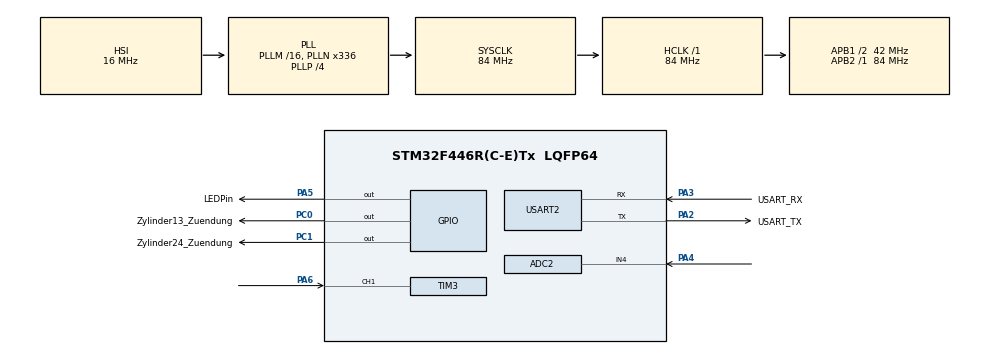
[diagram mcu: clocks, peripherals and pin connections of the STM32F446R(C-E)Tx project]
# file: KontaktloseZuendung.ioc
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ADC2.Channel-6\#ChannelRegularConversion=ADC_CHANNEL_4
ADC2.ContinuousConvMode=ENABLE
ADC2.NbrOfConversionFlag=1
ADC2.Rank-6\#ChannelRegularConversion=1
ADC2.Resolution=ADC_RESOLUTION_10B
ADC2.SamplingTime-6\#ChannelRegularConversion=ADC_SAMPLETIME_3CYCLES
Mcu.Family=STM32F4
Mcu.Name=STM32F446R(C-E)Tx
Mcu.Package=LQFP64
NVIC.ADC_IRQn=true\:0\:1\:false\:false\:true\:true\:true
NVIC.PriorityGroup=NVIC_PRIORITYGROUP_2
NVIC.TIM3_IRQn=true\:1\:1\:true\:false\:true\:true\:true
NVIC.TIM4_IRQn=true\:0\:0\:true\:false\:true\:true\:true
PA13.GPIO_Label=TMS
PA13.Mode=Serial_Wire
PA13.Signal=SYS_JTMS-SWDIO
PA14.GPIO_Label=TCK
PA14.Mode=Serial_Wire
PA14.Signal=SYS_JTCK-SWCLK
PA2.GPIO_Label=USART_TX
PA2.Mode=Asynchronous
PA2.Signal=USART2_TX
PA3.GPIO_Label=USART_RX
PA3.Mode=Asynchronous
PA3.Signal=USART2_RX
PA4.Signal=ADCx_IN4
PA5.GPIO_Label=LEDPin
PA5.Signal=GPIO_Output
PA6.GPIO_ModeDefaultPP=GPIO_MODE_AF_PP
PA6.GPIO_PuPd=GPIO_PULLDOWN
PA6.GPIO_Speed=GPIO_SPEED_FREQ_VERY_HIGH
PA6.Signal=S_TIM3_CH1
PB3.GPIO_Label=SWO
PB3.Signal=SYS_JTDO-SWO
PC0.GPIO_Label=Zylinder13_Zuendung
PC0.GPIO_PuPd=GPIO_PULLDOWN
PC0.GPIO_Speed=GPIO_SPEED_FREQ_VERY_HIGH
PC0.PinState=GPIO_PIN_RESET
PC0.Signal=GPIO_Output
PC1.GPIO_Label=Zylinder24_Zuendung
PC1.GPIO_PuPd=GPIO_PULLDOWN
PC1.GPIO_Speed=GPIO_SPEED_FREQ_VERY_HIGH
PC1.Signal=GPIO_Output
PC14-OSC32_IN.Mode=LSE-External-Oscillator
PC14-OSC32_IN.Signal=RCC_OSC32_IN
PC15-OSC32_OUT.Mode=LSE-External-Oscillator
PC15-OSC32_OUT.Signal=RCC_OSC32_OUT
PH0-OSC_IN.Mode=HSE-External-Oscillator
PH0-OSC_IN.Signal=RCC_OSC_IN
PH1-OSC_OUT.Mode=HSE-External-Oscillator
PH1-OSC_OUT.Signal=RCC_OSC_OUT
ProjectManager.HeapSize=0x200
ProjectManager.StackSize=0x400
ProjectManager.TargetToolchain=STM32CubeIDE
RCC.48MHZClocksFreq_Value=84000000
RCC.AHBFreq_Value=84000000
RCC.APB1CLKDivider=RCC_HCLK_DIV2
RCC.APB1Freq_Value=42000000
RCC.APB1TimFreq_Value=84000000
RCC.APB2Freq_Value=84000000
RCC.APB2TimFreq_Value=84000000
RCC.CortexFreq_Value=84000000
RCC.FLatency-AdvancedSettings=FLASH_LATENCY_2
RCC.HCLKFreq_Value=84000000
RCC.HSE_VALUE=8000000
RCC.HSI_VALUE=16000000
RCC.PLLN=336
RCC.PLLP=RCC_PLLP_DIV4
RCC.SYSCLKFreq_VALUE=84000000
RCC.SYSCLKSource=RCC_SYSCLKSOURCE_PLLCLK
RCC.USBFreq_Value=168000000
RCC.VCOOutputFreq_Value=336000000
SH.ADCx_IN4.0=ADC2_IN4,IN4
SH.S_TIM3_CH1.0=TIM3_CH1,Input_Capture1_from_TI1
SH.S_TIM3_CH1.1=TIM3_CH1,Input_Capture2_from_TI1
TIM3.AutoReloadPreload=TIM_AUTORELOAD_PRELOAD_ENABLE
TIM3.Channel-Input_Capture1_from_TI1=TIM_CHANNEL_1
TIM3.Channel-Input_Capture2_from_TI1=TIM_CHANNEL_2
TIM3.ICFilter_CH1=0
TIM3.ICPolarity_CH2=TIM_INPUTCHANNELPOLARITY_FALLING
TIM3.Period=65535
TIM3.Prescaler=221
TIM3.TIM_MasterOutputTrigger=TIM_TRGO_RESET
TIM4.AutoReloadPreload=TIM_AUTORELOAD_PRELOAD_ENABLE
TIM4.Channel-Output\ Compare1\ No\ Output=TIM_CHANNEL_1
TIM4.CounterMode=TIM_COUNTERMODE_UP
TIM4.Period=28500
TIM4.Prescaler=221
TIM4.Pulse-Output\ Compare1\ No\ Output=0
USART2.VirtualMode=VM_ASYNC
VP_TIM3_VS_ClockSourceINT.Mode=Internal
VP_TIM4_VS_ClockSourceINT.Mode=Internal
VP_TIM4_VS_no_output1.Mode=Output Compare1 No Output
board=NUCLEO-F446RE

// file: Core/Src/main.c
/* USER CODE BEGIN Header */
/**
 ******************************************************************************
 * @file           : main.c
 * @brief          : Main program body
 ******************************************************************************
 * @attention
 *
 * <h2><center>&copy; Copyright (c) 2019 STMicroelectronics.
 * All rights reserved.</center></h2>
 *
 * This software component is licensed by ST under BSD 3-Clause license,
 * the "License"; You may not use this file except in compliance with the
 * License. You may obtain a copy of the License at:
 *                        opensource.org/licenses/BSD-3-Clause
 *
 ******************************************************************************
 */
/* USER CODE END Header */

#include "main.h"
#include "adc.h"
#include "tim.h"
#include "usart.h"
#include "gpio.h"

/* USER CODE BEGIN Includes */

#include <inttypes.h>
#include <stdio.h>
#include <string.h>
#include <math.h>
#include "MovingAverage.h"
#include "IgnitionMap.h"
#include "ConvertValues.h"

/* USER CODE END Includes */

/* USER CODE BEGIN PV */
volatile uint8_t adc_ready = 0;
volatile uint16_t mapSensorValue = 0;

int ot_count = 0;

/* USER CODE END PV */

void SystemClock_Config(void);
/* USER CODE BEGIN PFP */

extern void init_TIM4_stuff();

/* USER CODE END PFP */

/* USER CODE BEGIN 0 */

char str[50];
/**
 * Prints the current sensor values over UART.
 */
void printData() {
	__disable_irq();

	uint32_t current_rpm = calculateEngineRPM(MovAvg_getMean());
	uint16_t current_pressure = calculateMAPPressure(mapSensorValue);

	int len = sprintf(str, "%" PRIu32 " rpm, %" PRIu16 " mbar\n", current_rpm, current_pressure);
	HAL_UART_Transmit(&huart2, (uint8_t*)str, len, 0xFFFF);

	__enable_irq();
}

void init_TIM3_overflow_event() {
	/* Enable generation of update event */
	__HAL_TIM_URS_ENABLE(&htim3);
	__HAL_TIM_CLEAR_FLAG(&htim3, TIM_FLAG_UPDATE);
	__HAL_TIM_ENABLE_IT(&htim3, TIM_IT_UPDATE);
}

/**
 * Initializes the pins for ignition to low.
 */
void init_ignition_pins_low() {
	HAL_GPIO_WritePin(Zylinder13_Zuendung_GPIO_Port, Zylinder13_Zuendung_Pin, GPIO_PIN_RESET);
	HAL_GPIO_WritePin(Zylinder24_Zuendung_GPIO_Port, Zylinder24_Zuendung_Pin, GPIO_PIN_RESET);
}

/* USER CODE END 0 */

int main(void)
{
  /* USER CODE BEGIN 1 */

	/**
	 *  Timer 3: Capture ticks for camshaft rotation
	 *
	 *  Timer 4: Overflow = Ignition
	 *           Compare = Set pin back to low
	 */

  /* USER CODE END 1 */

  /* MCU Configuration--------------------------------------------------------*/

  /* Reset of all peripherals, Initializes the Flash interface and the Systick. */
  HAL_Init();

  /* Configure the system clock */
  SystemClock_Config();

  /* Initialize all configured peripherals */
  MX_GPIO_Init();
  MX_USART2_UART_Init();
  MX_ADC2_Init();
  MX_TIM3_Init();
  MX_TIM4_Init();
  /* USER CODE BEGIN 2 */

	IgnitionMap_initialize();
	init_TIM4_stuff();
	init_TIM3_overflow_event();

  /* USER CODE END 2 */

  /* Infinite loop */
  /* USER CODE BEGIN WHILE */

	MovAvg_reset(38);

	HAL_TIM_IC_Start_IT(&htim3, TIM_CHANNEL_1);
	HAL_TIM_IC_Start_IT(&htim3, TIM_CHANNEL_2);

	HAL_TIM_Base_Start_IT(&htim4);

	HAL_ADC_Start_IT(&hadc2);
	while (1)
	{
//		/* Only restart ADC conversion if the previous one is ready */
//		if(adc_ready)
//		{
//			adc_ready = 0;
//
//		}

    /* USER CODE END WHILE */

	}
}

void SystemClock_Config(void)
{
  RCC_OscInitTypeDef RCC_OscInitStruct = {0};
  RCC_ClkInitTypeDef RCC_ClkInitStruct = {0};

  /** Configure the main internal regulator output voltage
  */
  __HAL_RCC_PWR_CLK_ENABLE();
  __HAL_PWR_VOLTAGESCALING_CONFIG(PWR_REGULATOR_VOLTAGE_SCALE3);
  /** Initializes the CPU, AHB and APB busses clocks
  */
  RCC_OscInitStruct.OscillatorType = RCC_OSCILLATORTYPE_HSI;
  RCC_OscInitStruct.HSIState = RCC_HSI_ON;
  RCC_OscInitStruct.HSICalibrationValue = RCC_HSICALIBRATION_DEFAULT;
  RCC_OscInitStruct.PLL.PLLState = RCC_PLL_ON;
  RCC_OscInitStruct.PLL.PLLSource = RCC_PLLSOURCE_HSI;
  RCC_OscInitStruct.PLL.PLLM = 16;
  RCC_OscInitStruct.PLL.PLLN = 336;
  RCC_OscInitStruct.PLL.PLLP = RCC_PLLP_DIV4;
  RCC_OscInitStruct.PLL.PLLQ = 2;
  RCC_OscInitStruct.PLL.PLLR = 2;
  if (HAL_RCC_OscConfig(&RCC_OscInitStruct) != HAL_OK)
  {
    Error_Handler();
  }
  /** Initializes the CPU, AHB and APB busses clocks
  */
  RCC_ClkInitStruct.ClockType = RCC_CLOCKTYPE_HCLK|RCC_CLOCKTYPE_SYSCLK
                              |RCC_CLOCKTYPE_PCLK1|RCC_CLOCKTYPE_PCLK2;
  RCC_ClkInitStruct.SYSCLKSource = RCC_SYSCLKSOURCE_PLLCLK;
  RCC_ClkInitStruct.AHBCLKDivider = RCC_SYSCLK_DIV1;
  RCC_ClkInitStruct.APB1CLKDivider = RCC_HCLK_DIV2;
  RCC_ClkInitStruct.APB2CLKDivider = RCC_HCLK_DIV1;

  if (HAL_RCC_ClockConfig(&RCC_ClkInitStruct, FLASH_LATENCY_2) != HAL_OK)
  {
    Error_Handler();
  }
}

void Error_Handler(void)
{
}

/************************ (C) COPYRIGHT STMicroelectronics *****END OF FILE****/
